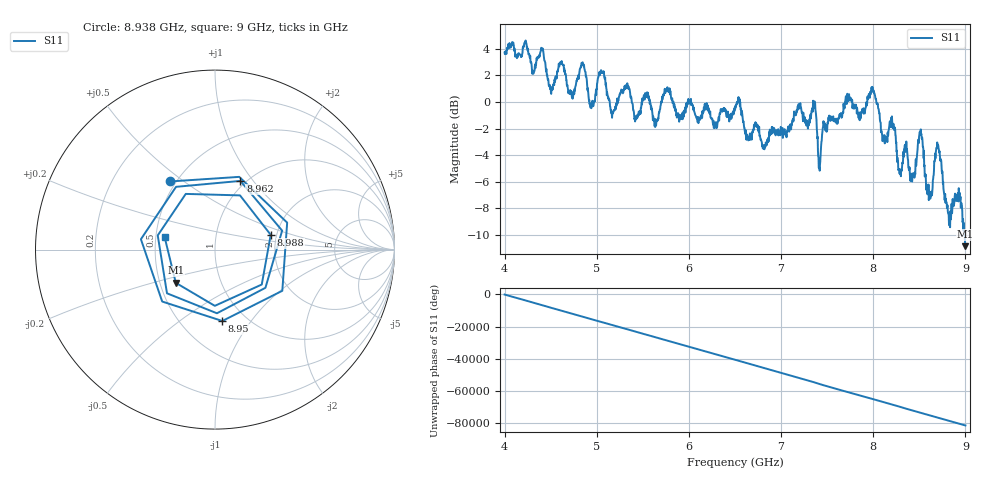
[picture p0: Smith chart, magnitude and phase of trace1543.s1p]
! Created with skrf 1.8.0 (http://scikit-rf.org).
# Hz S RI R 50.0
!freq ReS11 ImS11
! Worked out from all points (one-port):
!   1601 points, 4 GHz to 9 GHz, reference 50 ohm
!   lowest |S11| = -10.9 dB at 8.997 GHz (marker M1), VSWR 1.80, Z = 30.2 - j12.2 ohm
!   |S11| at or under -10 dB: 8.993249 GHz to end of sweep
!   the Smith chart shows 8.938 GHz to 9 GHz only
!   S11 on the Smith chart (normalised r, x): 8.938 GHz: 0.46, +0.44; 8.95 GHz: 0.78, -0.74; 8.962 GHz: 0.94, +0.87; 8.988 GHz: 1.86, +0.34; 9 GHz: 0.56, +0.08
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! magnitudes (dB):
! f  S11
! 4 GHz  3.7
! 4.403 GHz  3.9
! 4.503 GHz  0.7
! 4.625 GHz  2.9
! 4.941 GHz  -0.5
! 5.053 GHz  2.3
! 5.25 GHz  0.6
! 5.875 GHz  -0.9
! 6.5 GHz  -0.5
! 6.819 GHz  -3.6
! 7.125 GHz  -1.3
! 7.356 GHz  0.0
! 7.419 GHz  -5.2
! 7.75 GHz  0.3
! 8 GHz  0.7
! 8.284 GHz  -5.4
! 8.375 GHz  -4.3
! 8.431 GHz  -5.6
! 8.516 GHz  -2.1
! 8.612 GHz  -7.2
! 8.703 GHz  -3.2
! 8.822 GHz  -9.2
! 8.938 GHz  -6.8
! 8.95 GHz  -8.0
! 8.962 GHz  -7.8
! 8.988 GHz  -9.9
! 8.997 GHz  -10.9
! 9 GHz  -10.8
